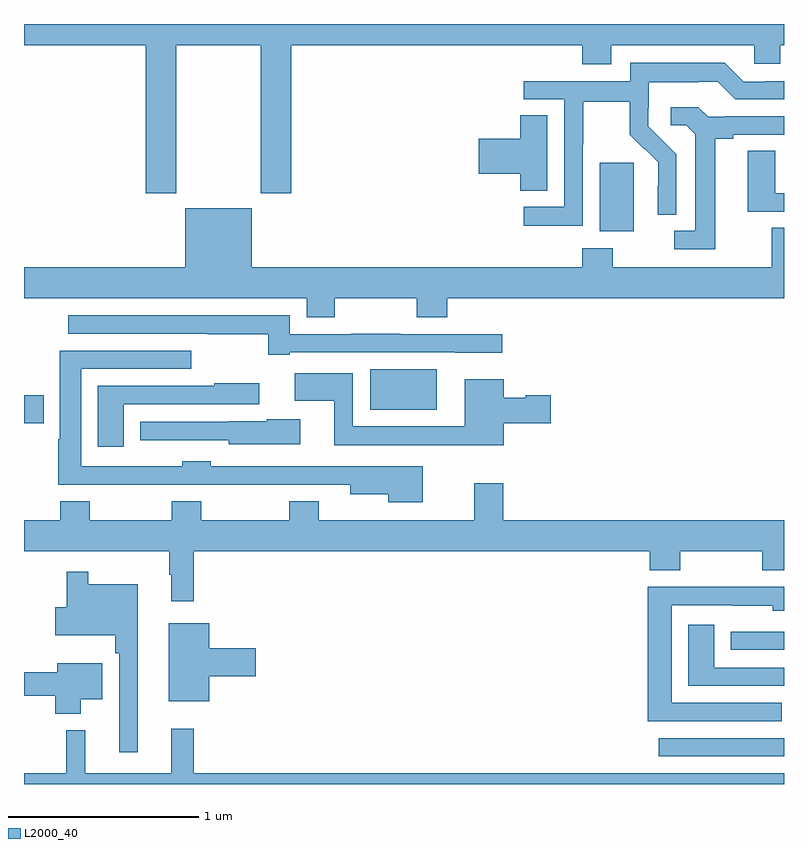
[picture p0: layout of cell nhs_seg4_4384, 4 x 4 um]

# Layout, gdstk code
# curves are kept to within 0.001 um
import gdstk
lib = gdstk.Library(unit=1e-6, precision=1e-09)
def R(c, l, rs):  # rectangles x0, y0, x1, y1
    for r in rs: c.add(gdstk.rectangle(r[:2], r[2:], *l))
def P(c, l, *ps):  # polygons
    for p in ps: c.add(gdstk.Polygon(p, *l))
L2000_40 = (2000, 40)

nhs_seg4_4384 = lib.new_cell('nhs_seg4_4384')
R(nhs_seg4_4384, L2000_40, [(348.342,825.045,349,825.141), (348.719,825.606,349,825.702), (345,826.799,345.103,826.946), (346.823,826.871,347.173,827.083), (348.029,827.81,348.208,828.171)])
P(nhs_seg4_4384, L2000_40, [(345.801,828.788),(346.246,828.788),(346.246,828.009),(346.406,828.009),(346.406,828.788),(347.939,828.788),(347.939,828.689),(348.091,828.689),(348.091,828.788),(348.843,828.788),(348.843,828.69),(348.981,828.69),(348.981,828.788),(349,828.788),(349,828.9),(345,828.9),(345,828.788),(345.641,828.788),(345.641,828.009),(345.801,828.009)],
  [(347.94,828.268),(347.943,828.268),(347.943,828.492),(348.187,828.492),(348.187,828.317),(348.264,828.24),(348.267,828.243),(348.338,828.173),(348.338,828.05),(348.336,828.05),(348.336,827.896),(348.432,827.896),(348.432,828.214),(348.286,828.362),(348.286,828.459),(348.288,828.459),(348.288,828.593),(348.551,828.593),(348.551,828.597),(348.651,828.597),(348.744,828.504),(349,828.504),(349,828.6),(348.905,828.6),(348.905,828.597),(348.789,828.597),(348.689,828.697),(348.192,828.697),(348.192,828.6),(347.631,828.6),(347.631,828.504),(347.844,828.504),(347.844,827.937),(347.631,827.937),(347.631,827.839),(347.94,827.839)],
  [(348.637,828.296),(348.733,828.296),(348.733,828.318),(349,828.318),(349,828.414),(348.694,828.414),(348.694,828.411),(348.6,828.411),(348.548,828.463),(348.405,828.463),(348.405,828.366),(348.486,828.366),(348.533,828.319),(348.533,827.811),(348.423,827.811),(348.423,827.715),(348.637,827.715)],
  [(347.755,828.419),(347.612,828.419),(347.612,828.296),(347.394,828.296),(347.394,828.113),(347.612,828.113),(347.612,828.022),(347.755,828.022)],
  [(349,828.009),(348.954,828.009),(348.954,828.233),(348.809,828.233),(348.809,827.913),(349,827.913)],
  [(346.635,827.456),(347.068,827.456),(347.068,827.357),(347.228,827.357),(347.228,827.456),(349,827.456),(349,827.828),(348.935,827.828),(348.935,827.62),(348.099,827.62),(348.099,827.719),(347.939,827.719),(347.939,827.62),(346.198,827.62),(346.198,827.929),(345.848,827.929),(345.848,827.62),(345,827.62),(345,827.456),(346.487,827.456),(346.487,827.357),(346.635,827.357)],
  [(346.399,827.172),(347.269,827.172),(347.269,827.171),(347.518,827.171),(347.518,827.268),(346.979,827.268),(346.979,827.27),(346.723,827.27),(346.723,827.268),(346.399,827.268),(346.399,827.367),(345.234,827.367),(345.234,827.271),(345.967,827.271),(345.967,827.266),(346.285,827.266),(346.285,827.16),(346.399,827.16)],
  [(347.098,826.573),(346.822,826.573),(346.822,826.572),(345.984,826.572),(345.984,826.6),(345.834,826.6),(345.834,826.573),(345.622,826.573),(345.622,826.572),(345.301,826.572),(345.301,827.085),(345.88,827.085),(345.88,827.181),(345.188,827.181),(345.188,826.715),(345.181,826.715),(345.181,826.475),(346.307,826.475),(346.307,826.476),(346.718,826.476),(346.718,826.424),(346.918,826.424),(346.918,826.382),(347.098,826.382)],
  [(347.524,826.799),(347.773,826.799),(347.773,826.946),(347.64,826.946),(347.64,826.933),(347.524,826.933),(347.524,827.029),(347.321,827.029),(347.321,826.783),(346.731,826.783),(346.731,827.062),(346.425,827.062),(346.425,826.916),(346.634,826.916),(346.634,826.682),(347.524,826.682)],
  [(345.526,826.899),(346.237,826.899),(346.237,827.008),(346.001,827.008),(346.001,826.995),(345.389,826.995),(345.389,826.674),(345.526,826.674)],
  [(346.453,826.821),(346.278,826.821),(346.278,826.81),(346.077,826.81),(346.077,826.806),(345.611,826.806),(345.611,826.71),(346.077,826.71),(346.077,826.688),(346.453,826.688)],
  [(345.893,826.124),(348.293,826.124),(348.293,826.025),(348.453,826.025),(348.453,826.124),(348.886,826.124),(348.886,826.025),(349,826.025),(349,826.288),(347.522,826.288),(347.522,826.483),(347.369,826.483),(347.369,826.288),(346.551,826.288),(346.551,826.387),(346.396,826.387),(346.396,826.288),(345.933,826.288),(345.933,826.387),(345.778,826.387),(345.778,826.288),(345.345,826.288),(345.345,826.387),(345.19,826.387),(345.19,826.288),(345,826.288),(345,826.124),(345.765,826.124),(345.765,826.001),(345.776,826.001),(345.776,825.861),(345.893,825.861)],
  [(345.598,825.952),(345.337,825.952),(345.337,826.018),(345.226,826.018),(345.226,825.831),(345.164,825.831),(345.164,825.683),(345.481,825.683),(345.481,825.587),(345.501,825.587),(345.501,825.066),(345.598,825.066)],
  [(348.988,825.327),(348.409,825.327),(348.409,825.84),(348.73,825.84),(348.73,825.839),(348.942,825.839),(348.942,825.812),(349,825.812),(349,825.938),(348.284,825.938),(348.284,825.231),(348.988,825.231)],
  [(345.976,825.467),(346.219,825.467),(346.219,825.614),(345.976,825.614),(345.976,825.745),(345.761,825.745),(345.761,825.335),(345.976,825.335)],
  [(349,825.513),(348.634,825.513),(348.634,825.739),(348.497,825.739),(348.497,825.417),(349,825.417)],
  [(345.298,825.347),(345.412,825.347),(345.412,825.535),(345.176,825.535),(345.176,825.487),(345,825.487),(345,825.365),(345.164,825.365),(345.164,825.269),(345.298,825.269)],
  [(349,824.956),(345.893,824.956),(345.893,825.19),(345.776,825.19),(345.776,824.956),(345.323,824.956),(345.323,825.184),(345.223,825.184),(345.223,824.956),(345,824.956),(345,824.9),(349,824.9)])

lib.write_gds('nhs_seg4_4384.gds')
